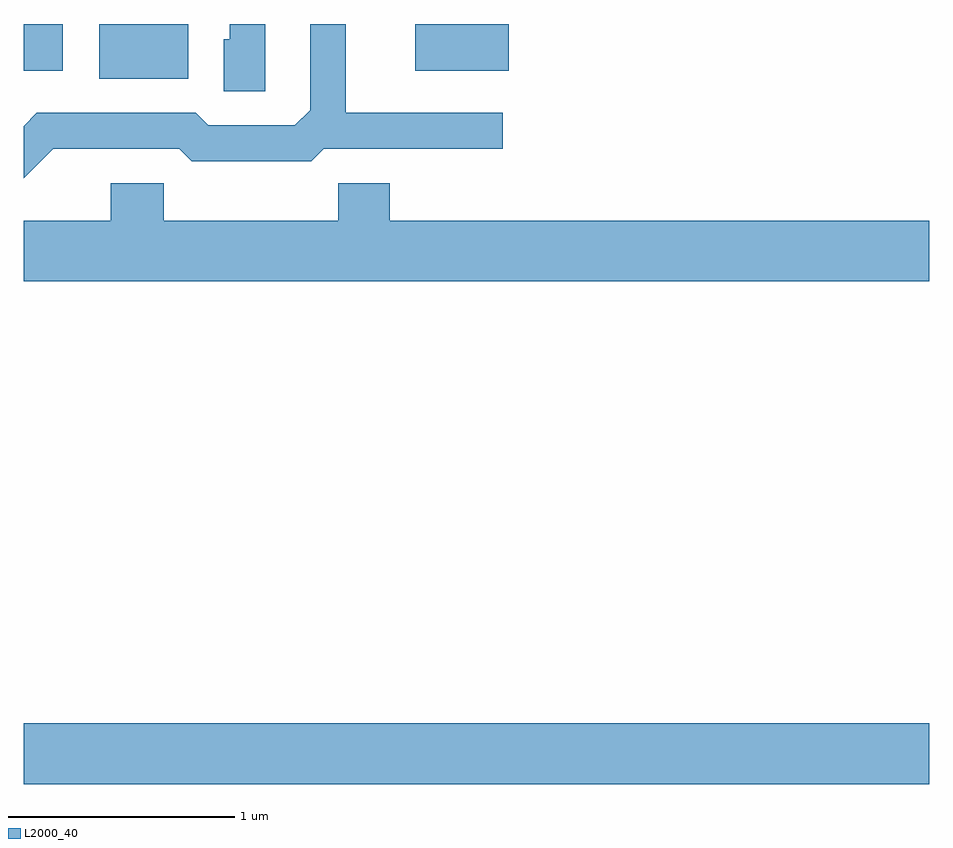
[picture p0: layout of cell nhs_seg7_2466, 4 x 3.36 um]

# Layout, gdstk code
import gdstk
lib = gdstk.Library(unit=1e-6, precision=1e-09)
def R(c, l, rs):  # rectangles x0, y0, x1, y1
    for r in rs: c.add(gdstk.rectangle(r[:2], r[2:], *l))
def P(c, l, *ps):  # polygons
    for p in ps: c.add(gdstk.Polygon(p, *l))
L2000_40 = (2000, 40)

nhs_seg7_2466 = lib.new_cell('nhs_seg7_2466')
R(nhs_seg7_2466, L2000_40, [(259.611,1800.896,263.611,1801.164), (259.946,1804.011,260.339,1804.252), (259.611,1804.046,259.784,1804.252), (261.341,1804.046,261.754,1804.252)])
P(nhs_seg7_2466, L2000_40, [(260.679,1804.252),(260.521,1804.252),(260.521,1804.184),(260.496,1804.184),(260.496,1803.956),(260.679,1803.956)],
  [(259.742,1803.701),(260.299,1803.701),(260.354,1803.646),(260.882,1803.646),(260.937,1803.701),(261.728,1803.701),(261.728,1803.859),(261.034,1803.859),(261.034,1804.252),(260.876,1804.252),(260.876,1803.872),(260.808,1803.804),(260.427,1803.804),(260.372,1803.859),(259.669,1803.859),(259.611,1803.801),(259.611,1803.57)],
  [(263.611,1803.384),(261.229,1803.384),(261.229,1803.549),(261.001,1803.549),(261.001,1803.384),(260.229,1803.384),(260.229,1803.549),(259.996,1803.549),(259.996,1803.384),(259.611,1803.384),(259.611,1803.116),(263.611,1803.116)])

lib.write_gds('nhs_seg7_2466.gds')
